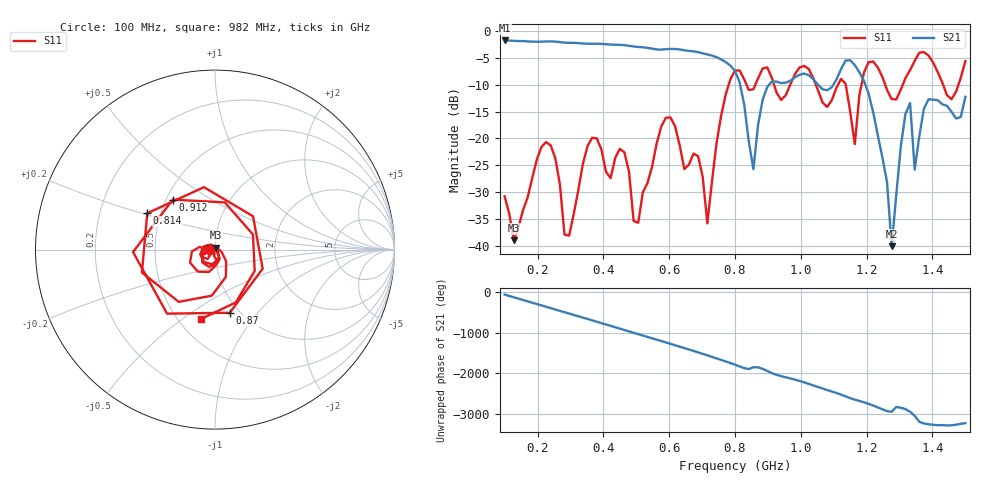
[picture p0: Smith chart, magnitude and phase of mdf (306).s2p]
! NanoVNA-App
! Date: 2025-09-25 15:40:48
! Start: 100MHz Stop: 1,5GHz Points: 101
! S-Parameter data: F S11 S21 S12 S22
# Hz S RI R 50
!  Frequency  S11_Real  S11_Imag  S21_Real  S21_Imag  S12_Real  S12_Imag  S22_Real  S22_Imag
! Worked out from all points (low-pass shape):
!   101 points, 100 MHz to 1.5 GHz, reference 50 ohm
!   highest |S21| = -1.80 dB at 100 MHz (marker M1); lowest = -40.0 dB at 1.276 GHz (marker M2)
!   |S21| within 3 dB of the highest: start of sweep to 739.1 MHz
!   lowest |S11| = -38.9 dB at 128 MHz (marker M3), VSWR 1.02, Z = 50.3 + j1.08 ohm
!   |S11| at or under -10 dB: start of sweep to 781 MHz; 918.5 MHz to 968 MHz (49.51 MHz wide, 5.25 % of centre); 1.045 GHz to 1.113 GHz (67.73 MHz wide, 6.28 % of centre) (the widest 3 of 7)
!   S12 and S22 are empty: the file has one direction only
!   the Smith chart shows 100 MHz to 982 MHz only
!   S11 on the Smith chart (normalised r, x): 100 MHz: 0.94, -0.01; 814 MHz: 0.42, +0.21; 870 MHz: 0.90, -0.73; 912 MHz: 0.54, +0.35; 982 MHz: 0.64, -0.59
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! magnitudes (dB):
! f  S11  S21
! 100 MHz  -30.7  -1.8
! 128 MHz  -38.9  -1.9
! 212 MHz  -21.6  -2.0
! 282 MHz  -37.9  -2.2
! 338 MHz  -24.7  -2.4
! 464 MHz  -22.6  -2.7
! 506 MHz  -35.7  -3.0
! 576 MHz  -17.8  -3.5
! 716 MHz  -35.8  -4.4
! 800 MHz  -7.4  -7.5
! 814 MHz  -7.4  -9.6
! 856 MHz  -10.9  -25.7
! 870 MHz  -8.8  -17.5
! 912 MHz  -8.8  -9.4
! 982 MHz  -8.1  -8.7
! 1.038 GHz  -8.8  -9.0
! 1.164 GHz  -21.1  -6.4
! 1.192 GHz  -7.7  -9.3
! 1.276 GHz  -12.7  -40.0
! 1.332 GHz  -7.3  -13.4
! 1.346 GHz  -5.6  -25.8
! 1.5 GHz  -5.6  -12.3
